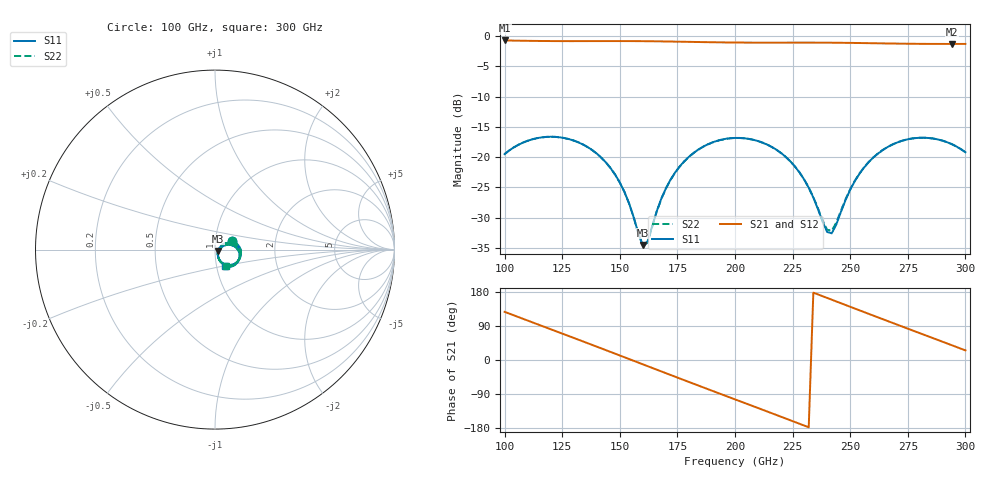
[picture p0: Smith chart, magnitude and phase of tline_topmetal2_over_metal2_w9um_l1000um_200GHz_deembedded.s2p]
! Created with skrf 2.2.0 (http://scikit-rf.org).
# GHz S DB R 50.0
! Port[1] = P1
! Port[2] = P2
!freq dBS11 angS11 dBS21 angS21 dBS12 angS12 dBS22 angS22
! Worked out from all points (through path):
!   101 points, 100 GHz to 300 GHz, reference 50 ohm
!   highest |S21| = -0.71 dB at 100 GHz (marker M1); lowest = -1.3 dB at 294 GHz (marker M2)
!   group delay of S21, straight-line fit = 6.42 ps
!   lowest |S11| = -34.5 dB at 160 GHz (marker M3), VSWR 1.04, Z = 51.7 - j0.866 ohm
!   |S11| at or under -10 dB: start of sweep to end of sweep
!   |S22| runs from -34.7 to -16.6 dB; largest |S21 - S12| = 1e-13
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100  -19.49 26.1  -0.71 127.1  -0.71 127.1  -19.49 25.8
116  -16.74 -5.3  -0.80 90.3  -0.80 90.3  -16.73 -5.5
124  -16.72 -21.5  -0.82 72.0  -0.82 72.0  -16.72 -21.6
134  -17.90 -41.3  -0.82 49.1  -0.82 49.1  -17.90 -41.5
150  -24.19 -66.6  -0.81 12.0  -0.81 12.0  -24.20 -67.1
160  -34.52 -26.5  -0.83 -11.4  -0.83 -11.4  -34.71 -27.1
162  -33.93 3.0  -0.84 -16.1  -0.84 -16.1  -34.13 3.2
168  -26.87 32.7  -0.87 -30.1  -0.87 -30.1  -26.93 33.1
174  -22.54 29.5  -0.90 -44.1  -0.90 -44.1  -22.57 29.8
184  -18.76 13.4  -0.97 -67.2  -0.97 -67.2  -18.78 13.7
200  -16.82 -17.2  -1.05 -103.9  -1.05 -103.9  -16.83 -16.9
210  -17.34 -36.5  -1.07 -126.8  -1.07 -126.8  -17.35 -36.1
220  -19.32 -54.6  -1.07 -149.8  -1.07 -149.8  -19.33 -54.0
228  -22.53 -65.8  -1.07 -168.3  -1.07 -168.3  -22.52 -64.9
234  -26.68 -66.8  -1.07 177.8  -1.07 177.8  -26.61 -65.4
240  -32.37 -36.3  -1.08 163.8  -1.08 163.8  -32.00 -35.0
242  -32.59 -13.1  -1.08 159.1  -1.08 159.1  -32.17 -13.1
254  -22.76 21.9  -1.14 131.2  -1.14 131.2  -22.70 21.2
268  -17.98 0.6  -1.22 98.8  -1.22 98.8  -17.96 0.4
280  -16.80 -21.9  -1.27 71.3  -1.27 71.3  -16.79 -21.9
294  -17.84 -48.0  -1.29 39.2  -1.29 39.2  -17.83 -47.7
300  -19.19 -58.2  -1.29 25.4  -1.29 25.4  -19.18 -57.7
